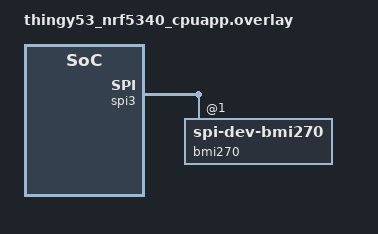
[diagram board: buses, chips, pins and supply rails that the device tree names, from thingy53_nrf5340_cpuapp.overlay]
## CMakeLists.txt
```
#
# Copyright (c) 2026 Nordic Semiconductor ASA
#
# SPDX-License-Identifier: LicenseRef-Nordic-5-Clause
#

cmake_minimum_required(VERSION 3.20.0)

# The application uses the configuration/<board> scheme for configuration files.
set(APPLICATION_CONFIG_DIR "${CMAKE_CURRENT_SOURCE_DIR}/configuration/\${NORMALIZED_BOARD_TARGET}")

find_package(Zephyr REQUIRED HINTS $ENV{ZEPHYR_BASE})
project(gesture_recognition)

set(NN_BASE "${CMAKE_CURRENT_SOURCE_DIR}/src/nrf_edgeai_generated/${BOARD}")

if(CONFIG_NRF_EDGEAI_GESTURE_RECOGNITION_MODEL_AXON)
  set(NN_SOURCE "${NN_BASE}/Axon")
else()
  # Neuton: use Neuton subdir only for nrf54lm20dk (has both Axon and Neuton)
  if(BOARD STREQUAL "nrf54lm20dk")
    set(NN_SOURCE "${NN_BASE}/Neuton")
  else()
    set(NN_SOURCE "${NN_BASE}")
  endif()
endif()

set(NN_PATH "${NN_SOURCE}/nrf_edgeai_user_model.c")
if(NOT EXISTS "${NN_PATH}")
  message(FATAL_ERROR "Edge AI model file not found for board '${BOARD}' (model dir: ${BOARD_BASE}).\n"
    "Expected: ${NN_PATH}\n"
    "Create the model at that path or use a supported board.")
endif()
message(STATUS "Using Edge AI model: ${NN_SOURCE}")

target_include_directories(app PRIVATE
  ${CMAKE_CURRENT_SOURCE_DIR}/src/hw_modules
  ${CMAKE_CURRENT_SOURCE_DIR}/src/ble
  ${NN_SOURCE}
)

if(CONFIG_BLE_MODE_HID)
  target_include_directories(app PRIVATE ${CMAKE_CURRENT_SOURCE_DIR}/src/uxsm)
endif()

target_sources(app PRIVATE
  ${CMAKE_CURRENT_SOURCE_DIR}/src/main.c
  ${CMAKE_CURRENT_SOURCE_DIR}/src/inference_postprocessing.c
  ${CMAKE_CURRENT_SOURCE_DIR}/src/hw_modules/button/button.c
  ${CMAKE_CURRENT_SOURCE_DIR}/src/hw_modules/led/led.c
  ${CMAKE_CURRENT_SOURCE_DIR}/src/hw_modules/sensor/imu/imu.c
  ${CMAKE_CURRENT_SOURCE_DIR}/src/ble/ble_common.c
  ${NN_PATH}
)

if(CONFIG_BLE_MODE_HID)
  target_sources(app PRIVATE ${CMAKE_CURRENT_SOURCE_DIR}/src/uxsm/ux_state_manager.c)
  target_sources(app PRIVATE ${CMAKE_CURRENT_SOURCE_DIR}/src/ble/hid/ble_hid.c)
elseif(CONFIG_BLE_MODE_NUS)
  target_sources(app PRIVATE ${CMAKE_CURRENT_SOURCE_DIR}/src/ble/nus/ble_nus.c)
elseif(CONFIG_BLE_MODE_GATT_CUSTOM)
  target_sources(app PRIVATE ${CMAKE_CURRENT_SOURCE_DIR}/src/ble/gatt/ble_gatt.c)
endif()
```

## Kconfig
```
#
# Copyright (c) 2026 Nordic Semiconductor
#
# SPDX-License-Identifier: LicenseRef-Nordic-5-Clause
#

config LED_NOTIFICATION_BLINK
	bool "Notification LED blink on event only"
	help
	  When enabled, the LED blinks a few times on state changes
	  (BLE connect/disconnect, mode switch via button) and then stays
	  off until the next event. This reduces current consumption.
	  When disabled (default), the status LED smoothly pulses using
	  PWM brightness changes driven by a periodic timer.

config DATA_COLLECTION_MODE
	bool "Enable Data Collection Mode (no inference run)"

choice NRF_EDGEAI_GESTURE_RECOGNITION_MODEL
	prompt "Edge AI model backend"
	default NRF_EDGEAI_GESTURE_RECOGNITION_MODEL_AXON if SOC_NRF54LM20B || SOC_NRF7120E
	default NRF_EDGEAI_GESTURE_RECOGNITION_MODEL_NEUTON
	help
	  Select which model implementation to use. Axon (NPU) is only available on
	  Axon-equipped devices (nRF54LM20B, nRF7120E). Other boards use Neuton (CPU).

config NRF_EDGEAI_GESTURE_RECOGNITION_MODEL_NEUTON
	bool "Neuton (CPU)"
	depends on !SOC_NRF7120E
	help
	  Use the Neuton model. Available on all supported boards except nRF7120E,
	  which supports only the Axon model.

config NRF_EDGEAI_GESTURE_RECOGNITION_MODEL_AXON
	bool "Axon (NPU)"
	depends on SOC_NRF54LM20B || SOC_NRF7120E
	select NRF_AXON
	help
	  Use the Axon model. Only available on Axon-enabled devices.

endchoice

choice BLE_MODE
	prompt "BLE mode"
	default BLE_MODE_HID if !DATA_COLLECTION_MODE
	default BLE_MODE_NUS if DATA_COLLECTION_MODE

config BLE_MODE_NONE
	bool "No BLE"
	help
	  Disable Bluetooth. Inference results and data collection use serial only.

config BLE_MODE_HID
	bool "BLE HID (keyboard emulation)"
	depends on !DATA_COLLECTION_MODE
	depends on BT
	select BT_HIDS
	select BT_DIS
	select BT_DIS_PNP
	select BT_BAS
	help
	  Use BLE HID for gesture-to-keyboard mapping (inference mode).

config BLE_MODE_NUS
	bool "BLE NUS (Nordic UART Service)"
	depends on DATA_COLLECTION_MODE
	depends on BT
	select BT_NUS
	select BT_DIS
	select BT_DIS_PNP
	select BT_BAS
	help
	  Forward raw IMU samples over Nordic UART Service. A second development
	  kit running the Bluetooth Central UART sample is needed to receive
	  the data.

config BLE_MODE_GATT_CUSTOM
	bool "BLE GATT (custom GATT service)"
	depends on !DATA_COLLECTION_MODE
	depends on BT
	select BT_BAS
	select BT_DIS
	select BT_DIS_PNP
	help
	  Use custom GATT service to send inference results (class_label,probability).

endchoice

config BLE_MITM_AUTH
	bool "Require MITM-protected pairing for BLE HID"
	depends on BLE_MODE_HID
	select BT_SMP
	select BT_SMP_ENFORCE_MITM
	select BT_SMP_SC_ONLY
	default y
	help
	  Enforce Man-In-The-Middle (MITM) protection during BLE pairing,
	  raising the link to Security Level 4 (Authenticated LE Secure
	  Connections).

	  With this option enabled, pairing requires an authenticated method
	  such as Passkey Entry or Numeric Comparison, which prevents a nearby
	  attacker from impersonating the host (or this device) during pairing
	  and injecting or eavesdropping on HID traffic (e.g. keystrokes).

	  Strongly recommended for BLE HID. Disable only for testing or when
	  no I/O capability is available on the device.

# Align HID characteristic permissions with the pairing security level:
#   - MITM on  -> require authenticated access (Security Level 3/4)
#   - MITM off -> require encryption only      (Security Level 2)
# This prevents a mismatch where characteristics demand authenticated
# access while pairing is unauthenticated (which would break connections).
choice BT_HIDS_DEFAULT_PERM
	default BT_HIDS_DEFAULT_PERM_RW_AUTHEN  if BLE_MITM_AUTH
	default BT_HIDS_DEFAULT_PERM_RW_ENCRYPT if BLE_MODE_HID
endchoice

source "Kconfig.zephyr"
```

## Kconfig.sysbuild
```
#
# Copyright (c) 2026 Nordic Semiconductor
#
# SPDX-License-Identifier: LicenseRef-Nordic-5-Clause
#

source "share/sysbuild/Kconfig"

config NRF_DEFAULT_IPC_RADIO
	default y

config NETCORE_IPC_RADIO_BT_HCI_IPC
	default y
```

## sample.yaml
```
sample:
  description: Gesture Recognition application
  name: gesture recognition

common:
  sysbuild: true
  tags:
    - ci_build
    - sysbuild
    - ci_applications_gesture_recognition
  harness: console
  harness_config:
    type: multi_line
    ordered: false
    regex:
      - "Booting MCUboot"
      - "I: Starting bootloader"
      - "I: Jumping to the first image slot"
      - "Booting nRF Connect SDK"
      - "Bluetooth initialized"
      - "Advertising successfully started"
      - "nRF Edge AI Gestures Recognition Demo:"
      - "nRF Edge AI Runtime Version:"
      - "nRF Edge AI Lab Solution id:"

tests:
  applications.gesture_recognition.hid.zdebug:
    build_only: true
    platform_allow:
      - nrf54l15tag/nrf54l15/cpuapp
    integration_platforms:
      - nrf54l15tag/nrf54l15/cpuapp
  applications.gesture_recognition.nus.zdebug:
    build_only: true
    platform_allow:
      - nrf54l15tag/nrf54l15/cpuapp
    integration_platforms:
      - nrf54l15tag/nrf54l15/cpuapp
    extra_args:
      - CONFIG_DATA_COLLECTION_MODE=y
      - CONFIG_BLE_MODE_NUS=y
  applications.gesture_recognition.gatt.zdebug:
    build_only: true
    platform_allow:
      - nrf54l15tag/nrf54l15/cpuapp
    integration_platforms:
      - nrf54l15tag/nrf54l15/cpuapp
    extra_args:
      - CONFIG_BLE_MODE_GATT_CUSTOM=y
  applications.gesture_recognition.none.zdebug:
    build_only: true
    platform_allow:
      - nrf54l15tag/nrf54l15/cpuapp
    integration_platforms:
      - nrf54l15tag/nrf54l15/cpuapp
    extra_args:
      - CONFIG_BLE_MODE_NONE=y
  applications.gesture_recognition.hid.zdebug.uart:
    platform_allow:
      - nrf54lm20dk/nrf54lm20a/cpuapp
      - nrf54lm20dk/nrf54lm20b/cpuapp
      - nrf7120dk/nrf7120e/cpuapp
    integration_platforms:
      - nrf54lm20dk/nrf54lm20a/cpuapp
      - nrf54lm20dk/nrf54lm20b/cpuapp
      - nrf7120dk/nrf7120e/cpuapp
  applications.gesture_recognition.nus.zdebug.uart:
    platform_allow:
      - nrf54lm20dk/nrf54lm20a/cpuapp
      - nrf54lm20dk/nrf54lm20b/cpuapp
      - nrf7120dk/nrf7120e/cpuapp
    integration_platforms:
      - nrf54lm20dk/nrf54lm20a/cpuapp
      - nrf54lm20dk/nrf54lm20b/cpuapp
      - nrf7120dk/nrf7120e/cpuapp
    extra_args:
      - CONFIG_DATA_COLLECTION_MODE=y
      - CONFIG_BLE_MODE_NUS=y
  applications.gesture_recognition.gatt.zdebug.uart:
    platform_allow:
      - nrf54lm20dk/nrf54lm20a/cpuapp
      - nrf54lm20dk/nrf54lm20b/cpuapp
      - nrf7120dk/nrf7120e/cpuapp
    integration_platforms:
      - nrf54lm20dk/nrf54lm20a/cpuapp
      - nrf54lm20dk/nrf54lm20b/cpuapp
      - nrf7120dk/nrf7120e/cpuapp
    extra_args:
      - CONFIG_BLE_MODE_GATT_CUSTOM=y
  applications.gesture_recognition.none.zdebug.uart:
    platform_allow:
      - nrf54lm20dk/nrf54lm20a/cpuapp
      - nrf54lm20dk/nrf54lm20b/cpuapp
      - nrf7120dk/nrf7120e/cpuapp
    integration_platforms:
      - nrf54lm20dk/nrf54lm20a/cpuapp
      - nrf54lm20dk/nrf54lm20b/cpuapp
      - nrf7120dk/nrf7120e/cpuapp
    extra_args:
      - CONFIG_BLE_MODE_NONE=y
    harness: console
    harness_config:
      type: multi_line
      ordered: true
      regex:
        - "Booting MCUboot"
        - "I: Starting bootloader"
        - "I: Jumping to the first image slot"
        - "Booting nRF Connect SDK"
        - "nRF Edge AI Gestures Recognition Demo:"
        - "nRF Edge AI Runtime Version:"
        - "nRF Edge AI Lab Solution id:"
  applications.gesture_recognition.hid.zrelease:
    sysbuild: true
    build_only: true
    platform_allow:
      - nrf54l15tag/nrf54l15/cpuapp
      - nrf54lm20dk/nrf54lm20a/cpuapp
      - nrf54lm20dk/nrf54lm20b/cpuapp
      - nrf7120dk/nrf7120e/cpuapp
    integration_platforms:
      - nrf54l15tag/nrf54l15/cpuapp
      - nrf54lm20dk/nrf54lm20a/cpuapp
      - nrf54lm20dk/nrf54lm20b/cpuapp
      - nrf7120dk/nrf7120e/cpuapp
    extra_args:
      - FILE_SUFFIX=release
  applications.gesture_recognition.nus.zrelease:
    sysbuild: true
    build_only: true
    platform_allow:
      - nrf54l15tag/nrf54l15/cpuapp
      - nrf54lm20dk/nrf54lm20a/cpuapp
      - nrf54lm20dk/nrf54lm20b/cpuapp
      - nrf7120dk/nrf7120e/cpuapp
    integration_platforms:
      - nrf54l15tag/nrf54l15/cpuapp
      - nrf54lm20dk/nrf54lm20a/cpuapp
      - nrf54lm20dk/nrf54lm20b/cpuapp
      - nrf7120dk/nrf7120e/cpuapp
    extra_args:
      - FILE_SUFFIX=release
      - CONFIG_DATA_COLLECTION_MODE=y
      - CONFIG_BLE_MODE_NUS=y
  applications.gesture_recognition.gatt.zrelease:
    sysbuild: true
    build_only: true
    platform_allow:
      - nrf54l15tag/nrf54l15/cpuapp
      - nrf54lm20dk/nrf54lm20a/cpuapp
      - nrf54lm20dk/nrf54lm20b/cpuapp
      - nrf7120dk/nrf7120e/cpuapp
    integration_platforms:
      - nrf54l15tag/nrf54l15/cpuapp
      - nrf54lm20dk/nrf54lm20a/cpuapp
      - nrf54lm20dk/nrf54lm20b/cpuapp
      - nrf7120dk/nrf7120e/cpuapp
    extra_args:
      - FILE_SUFFIX=release
      - CONFIG_BLE_MODE_GATT_CUSTOM=y
  applications.gesture_recognition.none.zrelease_no_ble:
    sysbuild: true
    build_only: true
    platform_allow:
      - nrf54l15tag/nrf54l15/cpuapp
      - nrf54lm20dk/nrf54lm20a/cpuapp
      - nrf54lm20dk/nrf54lm20b/cpuapp
      - nrf7120dk/nrf7120e/cpuapp
    integration_platforms:
      - nrf54l15tag/nrf54l15/cpuapp
      - nrf54lm20dk/nrf54lm20a/cpuapp
      - nrf54lm20dk/nrf54lm20b/cpuapp
      - nrf7120dk/nrf7120e/cpuapp
    extra_args:
      - FILE_SUFFIX=release_no_ble
  applications.gesture_recognition.none.power_consumption_test:
    sysbuild: true
    build_only: true
    platform_allow:
      - nrf54lm20dk/nrf54lm20a/cpuapp
      - nrf54lm20dk/nrf54lm20b/cpuapp
    integration_platforms:
      - nrf54lm20dk/nrf54lm20a/cpuapp
      - nrf54lm20dk/nrf54lm20b/cpuapp
    extra_args:
      - FILE_SUFFIX=release
      - CONFIG_BLE_MODE_NONE=y
      - CONFIG_BT=n
      - SB_CONFIG_NETCORE_EMPTY=y
  # This configuration is not working yet.
  # It's added so that shield is correctly rendered in the documentation.
  applications.gesture_recognition.shield:
    build_only: true
    platform_allow:
      - nrf54lm20dk/nrf54lm20a/cpuapp
      - nrf54lm20dk/nrf54lm20b/cpuapp
      - nrf7120dk/nrf7120e/cpuapp
    integration_platforms:
      - nrf54lm20dk/nrf54lm20a/cpuapp
      - nrf54lm20dk/nrf54lm20b/cpuapp
      - nrf7120dk/nrf7120e/cpuapp
    extra_args:
      - gesture_recognition_SHIELD=pca63568
```

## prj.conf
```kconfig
#
# Copyright (c) 2018 Nordic Semiconductor
#
# SPDX-License-Identifier: LicenseRef-Nordic-5-Clause
#

# Enable Bluetooth
CONFIG_BT=y
CONFIG_BT_PERIPHERAL=y
CONFIG_BT_DEVICE_NAME="T53_sensor_hub"

# Enable buttons and LEDs
CONFIG_DK_LIBRARY=y

CONFIG_SYSTEM_WORKQUEUE_STACK_SIZE=2048

# Configure Thingy:53 sensors
CONFIG_STDOUT_CONSOLE=y
CONFIG_I2C=y
CONFIG_SPI=y
CONFIG_BMI270_TRIGGER_GLOBAL_THREAD=y
CONFIG_SENSOR=y
CONFIG_ADC=y

CONFIG_LOG=y
CONFIG_LOG_DEFAULT_LEVEL=1

################################################################################
# Enable USB CDC ACM
CONFIG_USB_DEVICE_REMOTE_WAKEUP=n
CONFIG_USB_NRFX_WORK_QUEUE_STACK_SIZE=1200
CONFIG_USB_DEVICE_PRODUCT="Thingy:53 Application"
CONFIG_USB_DEVICE_VID=0x1915
CONFIG_USB_DEVICE_PID=0x530C

# Enable CDC ACM (USB-UART)
CONFIG_USB_CDC_ACM=y
CONFIG_UART_LINE_CTRL=y

# Enable console
CONFIG_CONSOLE=y
CONFIG_UART_CONSOLE=y
CONFIG_LOG_MODE_MINIMAL=n

CONFIG_COUNTER=y

# Enable FPU
CONFIG_FPU=y

# Bluetooth configuration
CONFIG_NCS_SAMPLES_DEFAULTS=y

CONFIG_BT=y
CONFIG_BT_LOG_LEVEL_DBG=n
CONFIG_BT_MAX_CONN=2
CONFIG_BT_MAX_PAIRED=2
CONFIG_BT_SMP=y
CONFIG_BT_L2CAP_TX_BUF_COUNT=5
CONFIG_BT_PERIPHERAL=y
CONFIG_BT_DEVICE_NAME="Neuton NRF RemoteControl"
CONFIG_BT_DEVICE_APPEARANCE=961

CONFIG_BT_BAS=y
CONFIG_BT_HIDS=y
CONFIG_BT_HIDS_MAX_CLIENT_COUNT=1
CONFIG_BT_HIDS_DEFAULT_PERM_RW_ENCRYPT=y
CONFIG_BT_GATT_UUID16_POOL_SIZE=40
CONFIG_BT_GATT_CHRC_POOL_SIZE=20

CONFIG_BT_CONN_CTX=y

CONFIG_BT_DIS=y
CONFIG_BT_DIS_PNP=y
CONFIG_BT_DIS_MANUF="NordicSemiconductor"
CONFIG_BT_DIS_PNP_VID_SRC=2
CONFIG_BT_DIS_PNP_VID=0x1915
CONFIG_BT_DIS_PNP_PID=0xEEEF
CONFIG_BT_DIS_PNP_VER=0x0100

CONFIG_SYSTEM_WORKQUEUE_STACK_SIZE=2048

CONFIG_BT_SETTINGS=y
CONFIG_FLASH=y
CONFIG_FLASH_PAGE_LAYOUT=y
CONFIG_FLASH_MAP=y
CONFIG_NVS=y
CONFIG_SETTINGS=y

CONFIG_DK_LIBRARY=y

# Enable logging
CONFIG_USB_DEVICE_LOG_LEVEL_ERR=y
CONFIG_USB_DEVICE_LOG_LEVEL_DBG=n

# LED configuration
CONFIG_PWM=y
CONFIG_DATA_COLLECTION_MODE=n
```

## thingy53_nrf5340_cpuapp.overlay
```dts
// To get started, press Ctrl+Space to bring up the completion menu and view the available nodes.

// You can also use the buttons in the sidebar to perform actions on nodes.
// Actions currently available include:

// * Enabling / disabling the node
// * Adding the bus to a bus
// * Removing the node
// * Connecting ADC channels

// For more help, browse the DeviceTree documentation at https://docs.zephyrproject.org/latest/guides/dts/index.html
// You can also visit the nRF DeviceTree extension documentation at https://nrfconnect.github.io/vscode-nrf-connect/devicetree/nrfdevicetree.html
&spi3 {
	bmi270: spi-dev-bmi270@1 {
		status = "okay";
	};
};
```

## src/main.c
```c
/*
 * Copyright (c) 2026 Nordic Semiconductor ASA
 *
 * SPDX-License-Identifier: LicenseRef-Nordic-5-Clause
 */

#include <soc.h>
#include <stddef.h>
#include <string.h>
#include <zephyr/types.h>
#include <zephyr/sys/util.h>

#include <stdio.h>
#include <zephyr/device.h>
#include <zephyr/kernel.h>
#include <zephyr/logging/log.h>
#include <zephyr/usb/usb_device.h>
#include <zephyr/sys/atomic.h>

#include <nrf_edgeai/nrf_edgeai.h>
#include <nrf_edgeai_user_model.h>

#include "button/button.h"
#include "led/led.h"
#include "sensor/imu/imu.h"

#if IS_ENABLED(CONFIG_BLE_MODE_HID)
#include "ux_state_manager.h"
#endif
#include "inference_postprocessing.h"
#include "ble/ble_common.h"

#if IS_ENABLED(CONFIG_BLE_MODE_HID)
#include "ble/hid/ble_hid.h"
#elif IS_ENABLED(CONFIG_BLE_MODE_NUS)
#include "ble/nus/ble_nus.h"
#elif IS_ENABLED(CONFIG_BLE_MODE_GATT_CUSTOM)
#include "ble/gatt/ble_gatt.h"
#endif

#define NRF_EDGEAI_INPUT_DATA_LEN (ACCEL_AXIS_NUM + GYRO_AXIS_NUM)

#if IS_ENABLED(CONFIG_LED_NOTIFICATION_BLINK)
#define LED_NOTIFY_BLINK_COUNT	(3)
#define LED_NOTIFY_BLINK_ON_MS	(100)
#define LED_NOTIFY_BLINK_OFF_MS (200)
#else
#define BLINK_LED_TIMER_PERIOD_MS	 (30)
#define LED_BLINK_CHANGE_BRIGHTNESS_STEP (0.005f)
#endif

#define LED_MAX_BRIGHTNESS (0.2f)

LOG_MODULE_REGISTER(main);

typedef int (*led_set_func_t)(float brightness);

#if IS_ENABLED(CONFIG_NRF_EDGEAI_GESTURE_RECOGNITION_MODEL_AXON)
static void execute_inference(flt32_t *input_data);
#else
static void execute_inference(int16_t *input_data);
#endif
static void send_imu_data(int16_t *input_data);
static void hw_modules_init(void);
#if IS_ENABLED(CONFIG_LED_NOTIFICATION_BLINK)
static void led_blink_set_active_led(void);
#else
static void led_glowing_timer_handler(struct k_timer *timer);
#endif
static void handle_inference_result(nrf_edgeai_t *model);

static struct k_sem imu_data_ready_sem;

/* Work queue items for deferring interrupt context LED operations to thread context */
#if IS_ENABLED(CONFIG_LED_NOTIFICATION_BLINK)
static struct k_work led_notify_work;
static struct k_work_delayable led_notify_blink_work;
static int led_notify_remaining;
#else
static struct k_work led_update_work;
#endif

static nrf_edgeai_t *p_model;

#if !IS_ENABLED(CONFIG_LED_NOTIFICATION_BLINK)
K_TIMER_DEFINE(led_timer, led_glowing_timer_handler, NULL);
#endif /* !CONFIG_LED_NOTIFICATION_BLINK */

#if !IS_ENABLED(CONFIG_BLE_MODE_NONE)
void main_ble_connection_notification(bool connected)
{
	(void)connected;
	led_off();
#if IS_ENABLED(CONFIG_LED_NOTIFICATION_BLINK)
	k_work_submit(&led_notify_work);
#endif
}
#endif

static void prepare_input_data(const imu_data_t *imu_data,
			       flt32_t *input_data_f32,
			       int16_t *input_data_i16)
{
	input_data_f32[0] = (flt32_t)(imu_data->accel[0].phys * 1000);
	input_data_f32[1] = (flt32_t)(imu_data->accel[1].phys * 1000);
	input_data_f32[2] = (flt32_t)(imu_data->accel[2].phys * 1000);
	input_data_f32[3] = (flt32_t)(imu_data->gyro[0].phys * 1000);
	input_data_f32[4] = (flt32_t)(imu_data->gyro[1].phys * 1000);
	input_data_f32[5] = (flt32_t)(imu_data->gyro[2].phys * 1000);

	input_data_i16[0] = imu_data->accel[0].raw;
	input_data_i16[1] = imu_data->accel[1].raw;
	input_data_i16[2] = imu_data->accel[2].raw;
	input_data_i16[3] = imu_data->gyro[0].raw;
	input_data_i16[4] = imu_data->gyro[1].raw;
	input_data_i16[5] = imu_data->gyro[2].raw;
}

static void process_one_imu_sample(const imu_data_t *imu_data,
				   flt32_t *input_data_f32,
				   int16_t *input_data_i16)
{
	prepare_input_data(imu_data, input_data_f32, input_data_i16);

	if (IS_ENABLED(CONFIG_DATA_COLLECTION_MODE)) {
		send_imu_data(input_data_i16);
		return;
	}

#if IS_ENABLED(CONFIG_NRF_EDGEAI_GESTURE_RECOGNITION_MODEL_AXON)
	execute_inference(input_data_f32);
#else
	execute_inference(input_data_i16);
#endif
}

static void process_ready_imu_samples(flt32_t *input_data_f32,
				      int16_t *input_data_i16)
{
	imu_data_t imu_data = {0};

#if IS_ENABLED(CONFIG_IMU_FIFO_BATCH)
	unsigned int fifo_count = 0;

	while (imu_read(&imu_data) == STATUS_SUCCESS) {
		fifo_count++;
		process_one_imu_sample(&imu_data, input_data_f32, input_data_i16);
	}

	LOG_DBG("FIFO batch: %u samples", fifo_count);
#else
	if (imu_read(&imu_data) == STATUS_SUCCESS) {
		process_one_imu_sample(&imu_data, input_data_f32, input_data_i16);
	}
#endif
}


int main(void)
{
	hw_modules_init();

	int err = button_init();

	if (err != 0) {
		LOG_ERR("Failed to initialize button module (err %d)", err);
		return err;
	}

#if IS_ENABLED(CONFIG_BLE_MODE_HID)
	err = uxsm_init();
	if (err != 0) {
		LOG_ERR("Failed to initialize UX state manager (err %d)", err);
		return err;
	}
#endif

	p_model = nrf_edgeai_user_model();
	__ASSERT_NO_MSG(p_model != NULL);
	__ASSERT_NO_MSG(nrf_edgeai_is_runtime_compatible(p_model));

	__maybe_unused nrf_edgeai_err_t res = nrf_edgeai_init(p_model);

	__ASSERT_NO_MSG(res == NRF_EDGEAI_ERR_SUCCESS);

	nrf_edgeai_rt_version_t version = nrf_edgeai_runtime_version();

	LOG_INF("nRF Edge AI Gestures Recognition Demo:");
	LOG_INF("nRF Edge AI Runtime Version: %d.%d.%d", version.field.major, version.field.minor,
		version.field.patch);
	LOG_INF("nRF Edge AI Lab Solution id: %s", nrf_edgeai_solution_id_str(p_model));

	flt32_t input_data_f32[NRF_EDGEAI_INPUT_DATA_LEN];
	int16_t input_data_i16[NRF_EDGEAI_INPUT_DATA_LEN];

	for (;;) {
		k_sem_take(&imu_data_ready_sem, K_FOREVER);
		process_ready_imu_samples(input_data_f32, input_data_i16);
	}

	return 0;
}

static void imu_data_ready_cb(void)
{
	k_sem_give(&imu_data_ready_sem);
}

static void led_set_active(float brightness)
{
	/* ble_common_is_connected() is safe to call in any BLE mode,
	 * including CONFIG_BLE_MODE_NONE, because ble_common_init() is
	 * always invoked during hw_modules_init().
	 */
	if (ble_common_is_connected()) {

#if IS_ENABLED(CONFIG_BLE_MODE_HID)

		static const led_set_func_t LED_VS_KEYBOARD_MODE[] = {
			[UX_REMOTECTRL_MODE_PRESENTATION] = led_set_led2,
			[UX_REMOTECTRL_MODE_MUSIC] = led_set_led1,
		};
		ux_remotectrl_mode_t mode = uxsm_get_remotectrl_mode();

		__ASSERT_NO_MSG(mode < ARRAY_SIZE(LED_VS_KEYBOARD_MODE));
		led_set_func_t led_set = LED_VS_KEYBOARD_MODE[mode];

		__ASSERT_NO_MSG(led_set != NULL);
		led_set(brightness);
#else
		led_set_led2(brightness);
#endif
	} else {
		led_set_led0(brightness);
	}
}

#if IS_ENABLED(CONFIG_LED_NOTIFICATION_BLINK)

static void led_blink_set_active_led(void)
{
	led_set_active(LED_MAX_BRIGHTNESS);
}

/**
 * Notification blink state machine.
 * Total steps = LED_NOTIFY_BLINK_COUNT * 2 (on + off per blink).
 * Even remaining → turn LED on, schedule off.
 * Odd remaining  → turn LED off, schedule next on (or stop).
 */
static void led_notify_blink_handler(struct k_work *work)
{
	if (led_notify_remaining <= 0) {
		return;
	}

	if (led_notify_remaining % 2 == 0) {
		/* LED-on phase */
		led_blink_set_active_led();
		led_notify_remaining--;
		k_work_schedule(&led_notify_blink_work, K_MSEC(LED_NOTIFY_BLINK_ON_MS));
	} else {
		/* LED-off phase */
		led_off();
		led_notify_remaining--;
		if (led_notify_remaining > 0) {
			k_work_schedule(&led_notify_blink_work, K_MSEC(LED_NOTIFY_BLINK_OFF_MS));
		}
	}
}

static void led_notify_start_work_handler(struct k_work *work)
{
	/* Cancel any ongoing sequence before starting a new one */
	k_work_cancel_delayable(&led_notify_blink_work);
	led_off();

	/* Each blink = on + off step */
	led_notify_remaining = LED_NOTIFY_BLINK_COUNT * 2;

	/* Kick off immediately */
	led_notify_blink_handler(NULL);
}

#else /* !CONFIG_LED_NOTIFICATION_BLINK */

static void led_glowing_timer_handler(struct k_timer *timer)
{
	(void)timer;
	k_work_submit(&led_update_work);
}

static void led_update_work_handler(struct k_work *work)
{
	static bool rising = true;
	static float brightness;

	led_set_active(brightness);

	if (rising) {
		brightness += LED_BLINK_CHANGE_BRIGHTNESS_STEP;
		if (brightness >= LED_MAX_BRIGHTNESS) {
			rising = false;
		}
	} else {
		brightness -= LED_BLINK_CHANGE_BRIGHTNESS_STEP;
		if (brightness <= 0) {
			rising = true;
		}
	}
}

#endif /* CONFIG_LED_NOTIFICATION_BLINK */

static void hw_modules_init(void)
{
	int ret;

#if IS_ENABLED(CONFIG_LED_NOTIFICATION_BLINK)
	k_work_init(&led_notify_work, led_notify_start_work_handler);
	k_work_init_delayable(&led_notify_blink_work, led_notify_blink_handler);
#else
	k_work_init(&led_update_work, led_update_work_handler);
#endif

	ret = led_init();
	if (ret != 0) {
		LOG_ERR("Failed to initialize LEDs module, error = %d", ret);
	}
#if IS_ENABLED(CONFIG_LED_NOTIFICATION_BLINK)
	/* Blink once at startup to confirm the device is alive */
	k_work_submit(&led_notify_work);
#else
	k_timer_start(&led_timer, K_MSEC(BLINK_LED_TIMER_PERIOD_MS),
		      K_MSEC(BLINK_LED_TIMER_PERIOD_MS));
#endif

	imu_config_t imu_config = {.accel_fs_g = IMU_ACCEL_SCALE_4G,
				   .gyro_fs_dps = IMU_GYRO_SCALE_1000DPS,
				   .data_rate_hz = 100};

	status_t status = imu_init(&imu_config, imu_data_ready_cb);

	if (status != STATUS_SUCCESS) {
		LOG_ERR("Failed to initialize IMU sensor, error = %d", (int)status);
		__ASSERT_NO_MSG(false);
	}
	k_sem_init(&imu_data_ready_sem, 0, K_SEM_MAX_LIMIT);

	/* Always initialize the common BLE state holder.
	 * It is mode-agnostic and must be ready before any other module
	 * (e.g. led_set_active()) queries ble_common_is_connected().
	 */
	ble_common_init();

#if IS_ENABLED(CONFIG_BLE_MODE_HID)
	ret = ble_hid_init();
	if (ret != 0) {
		LOG_ERR("Failed to initialize BLE HID service");
	}
#elif IS_ENABLED(CONFIG_BLE_MODE_NUS)
	ret = ble_nus_init();
	if (ret != 0) {
		LOG_ERR("Failed to initialize BLE NUS service");
	}
#elif IS_ENABLED(CONFIG_BLE_MODE_GATT_CUSTOM)
	ret = ble_gatt_init(NULL);
	if (ret != 0) {
		LOG_ERR("Failed to initialize BLE GATT service");
	}
#endif
}

#if IS_ENABLED(CONFIG_BLE_MODE_HID)
static void send_bt_keyboard_key(const class_label_t class_label)
{
	static const ble_hid_key_t LABEL_VS_KEY_BY_MODE[2][8] = {
		[UX_REMOTECTRL_MODE_PRESENTATION] = {
				[CLASS_LABEL_IDLE] = BLE_HID_KEYS_count,
				[CLASS_LABEL_UNKNOWN] = BLE_HID_KEYS_count,
				[CLASS_LABEL_SWIPE_RIGHT] = BLE_HID_KEY_ARROW_RIGHT,
				[CLASS_LABEL_SWIPE_LEFT] = BLE_HID_KEY_ARROW_LEFT,
				[CLASS_LABEL_DOUBLE_SHAKE] = BLE_HID_KEY_F5,
				[CLASS_LABEL_DOUBLE_THUMB] = BLE_HID_KEY_ESC,
				[CLASS_LABEL_ROTATION_RIGHT] = BLE_HID_KEYS_count,
				[CLASS_LABEL_ROTATION_LEFT] = BLE_HID_KEYS_count,
			},
		[UX_REMOTECTRL_MODE_MUSIC] = {
				[CLASS_LABEL_IDLE] = BLE_HID_KEYS_count,
				[CLASS_LABEL_UNKNOWN] = BLE_HID_KEYS_count,
				[CLASS_LABEL_SWIPE_RIGHT] = BLE_HID_KEY_MEDIA_NEXT_TRACK,
				[CLASS_LABEL_SWIPE_LEFT] = BLE_HID_KEY_MEDIA_PREV_TRACK,
				[CLASS_LABEL_DOUBLE_SHAKE] = BLE_HID_KEY_MEDIA_PLAY_PAUSE,
				[CLASS_LABEL_DOUBLE_THUMB] = BLE_HID_KEY_MEDIA_MUTE,
				[CLASS_LABEL_ROTATION_RIGHT] = BLE_HID_KEY_MEDIA_VOLUME_UP,
				[CLASS_LABEL_ROTATION_LEFT] = BLE_HID_KEY_MEDIA_VOLUME_DOWN,
			},
	};

	ux_remotectrl_mode_t mode = uxsm_get_remotectrl_mode();

	__ASSERT_NO_MSG(class_label < CLASS_LABEL_COUNT);
	__ASSERT_NO_MSG(mode < ARRAY_SIZE(LABEL_VS_KEY_BY_MODE));
	ble_hid_send_key(LABEL_VS_KEY_BY_MODE[mode][class_label]);
}
#endif

#if IS_ENABLED(CONFIG_BLE_MODE_GATT_CUSTOM)
static void ble_send_recognized_class(const class_label_t class_label, size_t probability_pct)
{
	static char send_buff[15];

	int message_len = snprintf(send_buff, sizeof(send_buff), "%d,%d", (int)class_label,
				   (int)probability_pct);

	__ASSERT_NO_MSG(message_len > 0 && message_len < sizeof(send_buff));
	ble_gatt_send_raw_data((const uint8_t *)send_buff, (size_t)message_len);
}
#endif

#if IS_ENABLED(CONFIG_NRF_EDGEAI_GESTURE_RECOGNITION_MODEL_AXON)
static void execute_inference(flt32_t *input_data)
#else
static void execute_inference(int16_t *input_data)
#endif
{
	nrf_edgeai_err_t res;

	res = nrf_edgeai_feed_inputs(p_model, (void *)input_data, NRF_EDGEAI_INPUT_DATA_LEN);

	if (res == NRF_EDGEAI_ERR_SUCCESS) {
		res = nrf_edgeai_run_inference(p_model);

		if (res == NRF_EDGEAI_ERR_SUCCESS) {
			handle_inference_result(p_model);
		} else {
			LOG_WRN("Failed to run inference, error = %d", (int)res);
		}
		/* INPROGRESS is expected 32/33 times, as we have 33 samples in the
		 * INPUT_WINDOW_SHIFT
		 */
	} else if (res != NRF_EDGEAI_ERR_INPROGRESS) {
		LOG_WRN("Failed to feed inputs, error = %d", (int)res);
	}
}

static void send_imu_data(int16_t *input_data)
{
#if IS_ENABLED(CONFIG_BLE_MODE_NUS)
	(void)ble_nus_send(input_data);
#else
	printk("%d,%d,%d,%d,%d,%d\r\n", input_data[0], input_data[1], input_data[2], input_data[3],
	       input_data[4], input_data[5]);
#endif
}

static bool should_act_on_prediction(const class_label_t class_label)
{
	static const uint32_t PREDICTION_TIMEOUT_MS = 800U;
	static uint32_t last_prediction_time_ms;
	uint32_t current_time_ms;

	if (class_label <= CLASS_LABEL_UNKNOWN) {
		return false;
	}

	current_time_ms = k_uptime_get();

	if ((class_label == CLASS_LABEL_ROTATION_RIGHT) ||
	    (class_label == CLASS_LABEL_ROTATION_LEFT) ||
	    (current_time_ms - last_prediction_time_ms) > PREDICTION_TIMEOUT_MS) {
		last_prediction_time_ms = current_time_ms;
		return true;
	}

	return false;
}

static void log_prediction_message(const char *class_name, const float probability)
{
	__ASSERT_NO_MSG(class_name != NULL);
	LOG_INF("Predicted class: %s, with probability %d %%", class_name,
		(int)(100 * probability));
}

static void handle_inference_result(nrf_edgeai_t *model)
{
	uint16_t predicted_target;
	const flt32_t *p_probabilities;

	__ASSERT_NO_MSG(model != NULL);

	predicted_target = model->decoded_output.classif.predicted_class;
	p_probabilities = model->decoded_output.classif.probabilities.p_f32;
	__ASSERT_NO_MSG(p_probabilities != NULL);

	LOG_DBG("Predicted target: %d, Probability: %f", predicted_target,
		(double)p_probabilities[predicted_target]);

	prediction_ctx_t result =
		inference_postprocess(predicted_target, p_probabilities[predicted_target]);
	if (should_act_on_prediction((class_label_t)result.target)) {
		const char *class_name = inference_get_class_name((class_label_t)result.target);

		log_prediction_message(class_name, result.probability);
#if IS_ENABLED(CONFIG_BLE_MODE_HID)
		send_bt_keyboard_key((class_label_t)result.target);
#elif IS_ENABLED(CONFIG_BLE_MODE_GATT_CUSTOM)
		ble_send_recognized_class((class_label_t)result.target,
					  (size_t)(100.0f * result.probability));
#endif
	}
}
```

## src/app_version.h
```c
/* 2023-06-09T11:22:25Z */

/* ----------------------------------------------------------------------
Copyright (c) 2022-2024 Neuton.AI, Inc.
*
The source code and its binary form are being made available on the following terms:
Redistribution, use, and modification are permitted provided that the following
conditions are met:
*
1. Redistributions of source code and/or its binary form must retain the above copyright notice,
* this list of conditions (and the disclaimer) either in the body of the source code or in
* the documentation and/or other materials provided with the distribution of the binary form, as
applicable.
*
2. The name of the copyright holder may not be used to endorse or promote products derived from this
* source code or its binary form without specific prior written permission of Neuton.AI, Inc.
*
3. Disclaimer. THIS SOURCE CODE AND ITS BINARY FORM ARE PROVIDED BY THE COPYRIGHT HOLDER "AS IS".
* THE COPYRIGHT HOLDER HEREBY DISCLAIMS ANY EXPRESS OR IMPLIED WARRANTIES, INCLUDING,
* BUT NOT LIMITED TO, THE IMPLIED WARRANTIES OF MERCHANTABILITY AND FITNESS FOR A
* PARTICULAR PURPOSE. IN NO EVENT SHALL THE COPYRIGHT HOLDER BE HELD LIABLE
* FOR ANY DIRECT, INDIRECT, INCIDENTAL, SPECIAL, EXEMPLARY, OR CONSEQUENTIAL
* DAMAGES (INCLUDING, BUT NOT LIMITED TO, PROCUREMENT OF SUBSTITUTE GOODS OR
* SERVICES; LOSS OF USE, DATA, OR PROFITS; INFRINGEMENT OF INTELLECTUAL PROPERTY RIGHTS
* OF THIRD PARTIES; OR BUSINESS INTERRUPTION) HOWEVER CAUSED AND ON ANY THEORY OF LIABILITY,
* WHETHER IN CONTRACT, STRICT LIABILITY, OR TORT (INCLUDING NEGLIGENCE OR OTHERWISE) ARISING
* IN ANY WAY OUT OF THE USE OF THIS SOURCE CODE OR ITS BINARY FORM, EVEN IF ADVISED OF THE
* POSSIBILITY OF SUCH DAMAGE.
---------------------------------------------------------------------- */
#ifndef __APPLICATION_VERSION_H__
#define __APPLICATION_VERSION_H__


#define APP_VERSION_MAJOR    3
#define APP_VERSION_MINOR    0
#define APP_VERSION_PATCH    0


#endif /* __APPLICATION_VERSION_H__ */
```

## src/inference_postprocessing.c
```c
/*
 * Copyright (c) 2026 Nordic Semiconductor ASA
 *
 * SPDX-License-Identifier: LicenseRef-Nordic-5-Clause
 */

#include "inference_postprocessing.h"

#include <stdbool.h>
#include <string.h>
#include <zephyr/sys/util.h>

#define PREVIOUS_PREDICTION_NUM                 (3)


typedef struct prediction_tracer_s {
	/** Current prediction index */
	int index;

	/** Current prediction target */
	uint16_t target;

	/** Previous predictions context */
	prediction_ctx_t prev[PREVIOUS_PREDICTION_NUM];
} prediction_tracer_t;

/**
 * @brief Class prediction conditions for postprocessing
 *
 */
typedef struct class_prediction_condition_s {
	/* Minimum number of repetitions of a class for prediction */
	uint16_t min_repeat_count;

	/* Minimum probability threshold for prediction */
	float probability_threshold;
} class_prediction_condition_t;

static const char *get_name_by_target(uint8_t predicted_target)
{
	static const char * const LABEL_VS_NAME[] = {
		[CLASS_LABEL_IDLE]           = "IDLE",
		[CLASS_LABEL_UNKNOWN]        = "UNKNOWN",
		[CLASS_LABEL_SWIPE_LEFT]     = "SWIPE LEFT",
		[CLASS_LABEL_SWIPE_RIGHT]    = "SWIPE RIGHT",
		[CLASS_LABEL_DOUBLE_SHAKE]   = "DOUBLE SHAKE",
		[CLASS_LABEL_DOUBLE_THUMB]   = "DOUBLE THUMB",
		[CLASS_LABEL_ROTATION_RIGHT] = "ROTATION RIGHT",
		[CLASS_LABEL_ROTATION_LEFT]  = "ROTATION LEFT"
	};

	static const uint8_t LABELS_CNT = ARRAY_SIZE(LABEL_VS_NAME);

	__ASSERT_NO_MSG(LABELS_CNT == CLASS_LABEL_COUNT);

	return (predicted_target < LABELS_CNT) ? LABEL_VS_NAME[predicted_target] : NULL;
}

static const class_prediction_condition_t *get_class_condition(uint8_t predicted_target)
{
	static const class_prediction_condition_t LABEL_VS_CONFIG[] = {
		[CLASS_LABEL_IDLE]           = {0, 0.0},
		[CLASS_LABEL_UNKNOWN]        = {0, 0.0},
		[CLASS_LABEL_SWIPE_LEFT]     = {2, 0.8},
		[CLASS_LABEL_SWIPE_RIGHT]    = {2, 0.8},
		[CLASS_LABEL_DOUBLE_SHAKE]   = {2, 0.7},
		[CLASS_LABEL_DOUBLE_THUMB]   = {3, 0.7},
		[CLASS_LABEL_ROTATION_RIGHT] = {2, 0.7},
		[CLASS_LABEL_ROTATION_LEFT]  = {2, 0.7},
	};

	static const uint8_t LABELS_CNT = ARRAY_SIZE(LABEL_VS_CONFIG);

	return (predicted_target < LABELS_CNT) ? &LABEL_VS_CONFIG[predicted_target] : NULL;
}

static void reset_tracer(prediction_tracer_t *tracer, uint16_t target)
{
	__ASSERT_NO_MSG(tracer != NULL);
	tracer->index = 0;
	tracer->target = target;
}

static void reset_tracer_if_index_overflow(prediction_tracer_t *tracer)
{
	__ASSERT_NO_MSG(tracer != NULL);
	if (tracer->index >= PREVIOUS_PREDICTION_NUM) {
		tracer->index = 0;
	}
}

static void reset_tracer_if_target_changed(prediction_tracer_t *tracer, uint16_t target)
{
	__ASSERT_NO_MSG(tracer != NULL);
	if (tracer->target != target) {
		reset_tracer(tracer, target);
	}
}

static void record_prediction(prediction_tracer_t *tracer, float probability)
{
	__ASSERT_NO_MSG(tracer != NULL);
	__ASSERT_NO_MSG(tracer->index < PREVIOUS_PREDICTION_NUM);
	tracer->prev[tracer->index].probability = probability;
	tracer->index++;
}

static float average_probability(const prediction_tracer_t *tracer)
{
	float average_prob = 0.0f;

	__ASSERT_NO_MSG(tracer != NULL);
	__ASSERT_NO_MSG(tracer->index > 0);
	for (int i = 0; i < tracer->index; ++i) {
		average_prob += tracer->prev[i].probability;
	}

	return average_prob / tracer->index;
}

static bool is_repetitive_class(uint16_t target)
{
	return (target == CLASS_LABEL_ROTATION_RIGHT) ||
	       (target == CLASS_LABEL_ROTATION_LEFT);
}

static bool apply_conditions(const class_prediction_condition_t *condition,
			      const prediction_tracer_t *tracer,
			      uint16_t *target,
			      float *probability)
{
	__ASSERT_NO_MSG(condition != NULL);
	__ASSERT_NO_MSG(tracer != NULL);
	__ASSERT_NO_MSG(target != NULL);
	__ASSERT_NO_MSG(probability != NULL);
	if (tracer->index < condition->min_repeat_count) {
		*target = CLASS_LABEL_UNKNOWN;
		*probability = 0.0f;
		return false;
	}

	float average_prob = average_probability(tracer);

	if (average_prob < condition->probability_threshold) {
		*target = CLASS_LABEL_UNKNOWN;
		*probability = 0.0f;
	} else {
		*probability = average_prob;
	}

	return true;
}

prediction_ctx_t inference_postprocess(uint16_t target, float probability)
{
	prediction_ctx_t result = {
		.target = CLASS_LABEL_UNKNOWN,
		.probability = 0.0f,
	};

	static prediction_tracer_t tracer;

	if ((target == CLASS_LABEL_UNKNOWN) || (target == CLASS_LABEL_IDLE)) {
		/* Reset tracer for UNKNOWN and IDLE classes */
		reset_tracer(&tracer, target);
	} else {
		reset_tracer_if_index_overflow(&tracer);
		reset_tracer_if_target_changed(&tracer, target);
		record_prediction(&tracer, probability);

		const class_prediction_condition_t *class_condition =
			get_class_condition(target);
		if (class_condition == NULL) {
			return result;
		}

		bool evaluated = apply_conditions(class_condition, &tracer, &target, &probability);

		/* Reset tracer index for non-repetitive classes */
		if (evaluated && !is_repetitive_class(target)) {
			tracer.index = 0;
		}
	}

	result.target = target;
	result.probability = probability;
	return result;
}

const char *inference_get_class_name(const class_label_t class_label)
{
	return get_name_by_target((uint8_t)class_label);
}
```

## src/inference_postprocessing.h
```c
/*
 * Copyright (c) 2026 Nordic Semiconductor ASA
 *
 * SPDX-License-Identifier: LicenseRef-Nordic-5-Clause
 */

/**
 * @defgroup app_gr Gesture Recognition Application
 *
 * @defgroup inference_postprocessing Inference Postprocessing
 * @{
 * @ingroup app_gr
 */

#ifndef __INFERENCE_POSTPROCESSING_H__
#define __INFERENCE_POSTPROCESSING_H__

#include <stdint.h>

typedef enum {
	CLASS_LABEL_IDLE,
	CLASS_LABEL_UNKNOWN,
	CLASS_LABEL_SWIPE_RIGHT,
	CLASS_LABEL_SWIPE_LEFT,
	CLASS_LABEL_DOUBLE_SHAKE,
	CLASS_LABEL_DOUBLE_THUMB,
	CLASS_LABEL_ROTATION_RIGHT,
	CLASS_LABEL_ROTATION_LEFT,
	CLASS_LABEL_COUNT,
} class_label_t;

typedef struct prediction_ctx_s {
	/** Prediction target */
	uint16_t target;

	/** Prediction probability */
	float probability;
} prediction_ctx_t;

/**
 * @brief Postprocess the Neuton library RAW inference output
 *
 * @param[in] predicted_target  Predicted target(class)
 * @param[in] probability       Predicted probability of the target
 *
 * @return Postprocessed inference result
 */
prediction_ctx_t inference_postprocess(const uint16_t predicted_target,
				       const float probability);

/**
 * @brief Get class name by label
 *
 * @param[in] class_label  Class label
 *
 * @return Class name, or NULL for invalid labels
 */
const char *inference_get_class_name(const class_label_t class_label);



#endif /* __INFERENCE_POSTPROCESSING_H__ */

/**
 * @}
 */
```
